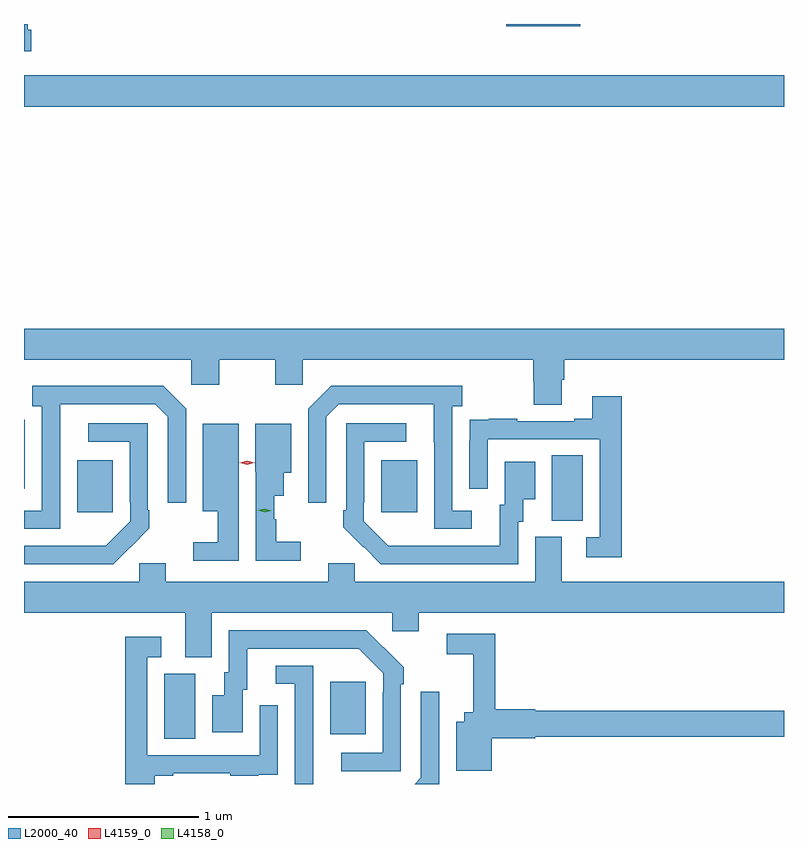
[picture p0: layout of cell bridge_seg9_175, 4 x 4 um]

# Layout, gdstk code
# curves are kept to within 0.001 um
import gdstk
lib = gdstk.Library(unit=1e-6, precision=1e-09)
def R(c, l, rs):  # rectangles x0, y0, x1, y1
    for r in rs: c.add(gdstk.rectangle(r[:2], r[2:], *l))
def P(c, l, *ps):  # polygons
    for p in ps: c.add(gdstk.Polygon(p, *l))
L2000_40 = (2000, 40)
L4158_0 = (4158, 0)
L4159_0 = (4159, 0)

bridge_seg9_175 = lib.new_cell('bridge_seg9_175')
R(bridge_seg9_175, L2000_40, [(159.992,1242.376,160.156,1242.72), (160.865,1242.401,161.053,1242.676), (162.032,1243.525,162.196,1243.868), (159.533,1243.569,159.721,1243.843), (161.135,1243.569,161.323,1243.843), (159.254,1245.704,163.254,1245.868), (161.792,1246.127,162.181,1246.139)])
P(bridge_seg9_175, L2000_40, [(159.291,1246.108),(159.273,1246.108),(159.273,1246.139),(159.254,1246.139),(159.254,1245.996),(159.291,1245.996)],
  [(162.085,1244.266),(162.098,1244.266),(162.098,1244.372),(163.254,1244.372),(163.254,1244.536),(159.254,1244.536),(159.254,1244.372),(160.134,1244.372),(160.134,1244.241),(160.281,1244.241),(160.281,1244.372),(160.576,1244.372),(160.576,1244.241),(160.722,1244.241),(160.722,1244.372),(161.933,1244.372),(161.933,1244.259),(161.938,1244.259),(161.938,1244.134),(162.085,1244.134)],
  [(159.444,1243.939),(159.445,1244.139),(159.945,1244.139),(160.011,1244.073),(160.011,1243.62),(160.107,1243.62),(160.107,1244.115),(159.986,1244.236),(159.297,1244.236),(159.297,1244.126),(159.348,1244.126),(159.348,1243.578),(159.254,1243.578),(159.254,1243.482),(159.444,1243.482)],
  [(161.611,1243.578),(161.508,1243.578),(161.508,1244.126),(161.56,1244.126),(161.56,1244.236),(160.87,1244.236),(160.749,1244.115),(160.749,1243.62),(160.845,1243.62),(160.845,1244.073),(160.911,1244.139),(161.411,1244.139),(161.412,1243.482),(161.611,1243.482)],
  [(162.401,1244.179),(162.245,1244.179),(162.245,1244.062),(162.149,1244.062),(162.149,1244.049),(161.849,1244.049),(161.849,1244.062),(161.701,1244.062),(161.701,1244.055),(161.599,1244.055),(161.599,1243.946),(161.598,1243.946),(161.598,1243.692),(161.694,1243.692),(161.694,1243.953),(162.285,1243.953),(162.285,1243.437),(162.213,1243.437),(162.213,1243.332),(162.401,1243.332)],
  [(159.258,1243.946),(159.257,1243.946),(159.257,1244.055),(159.254,1244.055),(159.254,1243.692),(159.258,1243.692)],
  [(159.815,1243.387),(159.816,1243.386),(159.914,1243.484),(159.914,1243.579),(159.906,1243.579),(159.906,1244.037),(159.591,1244.037),(159.591,1243.941),(159.81,1243.941),(159.81,1243.621),(159.813,1243.621),(159.813,1243.521),(159.685,1243.393),(159.254,1243.392),(159.254,1243.296),(159.724,1243.296)],
  [(161.856,1243.518),(161.881,1243.518),(161.881,1243.637),(161.944,1243.637),(161.944,1243.834),(161.783,1243.834),(161.783,1243.608),(161.759,1243.608),(161.759,1243.392),(161.172,1243.393),(161.043,1243.521),(161.043,1243.621),(161.046,1243.621),(161.046,1243.941),(161.266,1243.941),(161.266,1244.037),(160.95,1244.037),(160.95,1243.579),(160.935,1243.579),(160.935,1243.491),(161.132,1243.296),(161.856,1243.296)],
  [(160.711,1243.413),(160.582,1243.413),(160.582,1243.533),(160.571,1243.533),(160.571,1243.655),(160.621,1243.655),(160.621,1243.778),(160.66,1243.778),(160.66,1244.035),(160.472,1244.035),(160.472,1243.782),(160.473,1243.782),(160.473,1243.314),(160.711,1243.314)],
  [(160.383,1243.678),(160.384,1243.678),(160.384,1244.035),(160.196,1244.035),(160.196,1243.574),(160.275,1243.574),(160.275,1243.411),(160.146,1243.411),(160.146,1243.314),(160.383,1243.314)],
  [(160.243,1243.04),(161.193,1243.04),(161.193,1242.942),(161.332,1242.942),(161.332,1243.04),(163.254,1243.04),(163.254,1243.204),(162.085,1243.204),(162.085,1243.44),(161.945,1243.44),(161.945,1243.204),(160.995,1243.204),(160.995,1243.302),(160.856,1243.302),(160.856,1243.204),(160,1243.204),(160,1243.302),(159.861,1243.302),(159.861,1243.204),(159.254,1243.204),(159.254,1243.04),(160.103,1243.04),(160.103,1242.805),(160.243,1242.805)],
  [(161.238,1242.665),(161.253,1242.665),(161.253,1242.753),(161.056,1242.948),(160.332,1242.948),(160.332,1242.726),(160.307,1242.726),(160.307,1242.607),(160.244,1242.607),(160.244,1242.411),(160.405,1242.411),(160.405,1242.636),(160.429,1242.636),(160.429,1242.852),(161.017,1242.852),(161.145,1242.723),(161.145,1242.623),(161.142,1242.623),(161.142,1242.303),(160.923,1242.303),(160.923,1242.207),(161.238,1242.207)],
  [(161.716,1242.38),(161.946,1242.38),(161.946,1242.388),(163.254,1242.388),(163.254,1242.524),(161.946,1242.524),(161.946,1242.532),(161.735,1242.532),(161.735,1242.93),(161.478,1242.93),(161.478,1242.822),(161.618,1242.822),(161.618,1242.517),(161.57,1242.517),(161.57,1242.466),(161.528,1242.466),(161.528,1242.209),(161.716,1242.209)],
  [(159.943,1242.183),(160.039,1242.183),(160.039,1242.195),(160.339,1242.195),(160.339,1242.183),(160.487,1242.183),(160.487,1242.189),(160.589,1242.189),(160.589,1242.298),(160.59,1242.298),(160.59,1242.553),(160.494,1242.553),(160.494,1242.291),(159.903,1242.291),(159.903,1242.807),(159.976,1242.807),(159.976,1242.913),(159.787,1242.913),(159.787,1242.139),(159.943,1242.139)],
  [(160.777,1242.305),(160.776,1242.305),(160.776,1242.762),(160.578,1242.762),(160.578,1242.666),(160.68,1242.666),(160.68,1242.139),(160.777,1242.139)],
  [(161.439,1242.625),(161.343,1242.625),(161.343,1242.171),(161.311,1242.139),(161.439,1242.139)])
P(bridge_seg9_175, L4158_0, [(160.52,1243.569),(160.485,1243.58),(160.484,1243.581),(160.485,1243.581),(160.521,1243.589),(160.556,1243.578),(160.556,1243.578),(160.556,1243.578)])
P(bridge_seg9_175, L4159_0, [(160.428,1243.82),(160.389,1243.83),(160.389,1243.83),(160.389,1243.83),(160.428,1243.84),(160.467,1243.83),(160.468,1243.83),(160.467,1243.83)])

lib.write_gds('bridge_seg9_175.gds')
